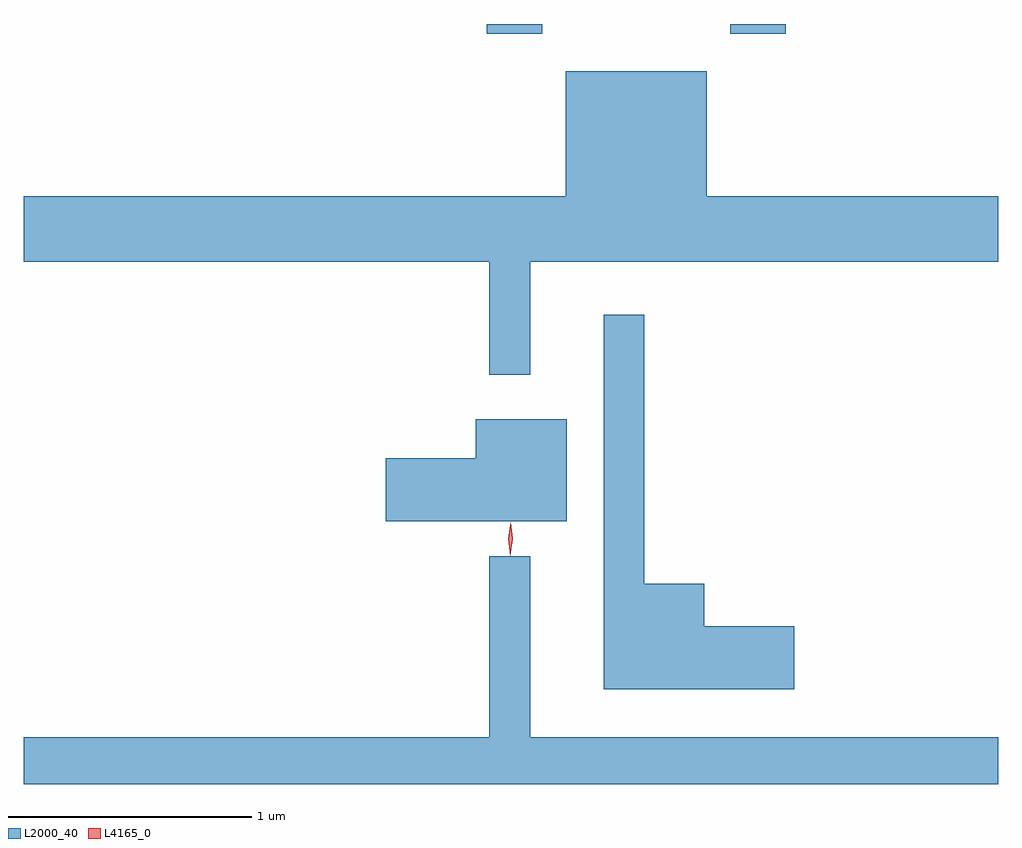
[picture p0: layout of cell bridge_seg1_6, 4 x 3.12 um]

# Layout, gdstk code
import gdstk
lib = gdstk.Library(unit=1e-6, precision=1e-09)
def R(c, l, rs):  # rectangles x0, y0, x1, y1
    for r in rs: c.add(gdstk.rectangle(r[:2], r[2:], *l))
def P(c, l, *ps):  # polygons
    for p in ps: c.add(gdstk.Polygon(p, *l))
L2000_40 = (2000, 40)
L4165_0 = (4165, 0)

bridge_seg1_6 = lib.new_cell('bridge_seg1_6')
R(bridge_seg1_6, L2000_40, [(1676.471,842.791,1676.699,842.832), (1677.471,842.791,1677.699,842.832)])
P(bridge_seg1_6, L2000_40, [(1676.649,841.856),(1678.571,841.856),(1678.571,842.124),(1677.374,842.124),(1677.374,842.639),(1676.796,842.639),(1676.796,842.124),(1674.571,842.124),(1674.571,841.856),(1676.481,841.856),(1676.481,841.393),(1676.649,841.393)],
  [(1677.734,840.359),(1677.364,840.359),(1677.364,840.534),(1677.119,840.534),(1677.119,841.638),(1676.951,841.638),(1676.951,840.101),(1677.734,840.101)],
  [(1676.799,841.209),(1676.426,841.209),(1676.426,841.049),(1676.056,841.049),(1676.056,840.791),(1676.799,840.791)],
  [(1678.571,839.904),(1676.649,839.904),(1676.649,840.648),(1676.481,840.648),(1676.481,839.904),(1674.571,839.904),(1674.571,839.712),(1678.571,839.712)])
P(bridge_seg1_6, L4165_0, [(1676.568,840.65),(1676.568,840.65),(1676.559,840.718),(1676.569,840.786),(1676.569,840.786),(1676.57,840.786),(1676.579,840.718),(1676.568,840.65)],
  [(1676.568,840.653),(1676.568,840.653),(1676.559,840.716),(1676.569,840.779),(1676.57,840.78),(1676.57,840.779),(1676.579,840.716),(1676.568,840.653)])

lib.write_gds('bridge_seg1_6.gds')
